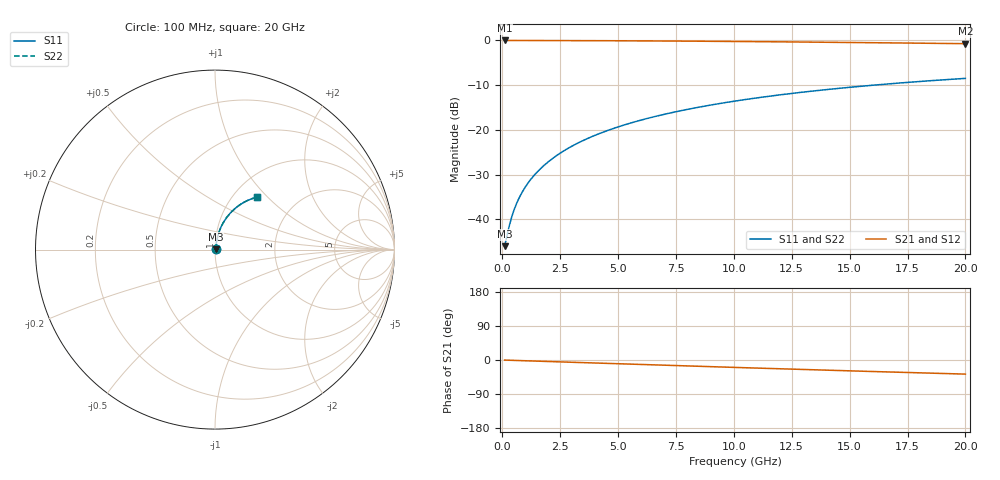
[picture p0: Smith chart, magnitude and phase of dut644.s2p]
! Touchstone file exported from HFSS 2026.1.0
!  File:  C:/ffzhzh/LocalFiles/Ansys_Project_Files/temp_train_TMRDL_644_1783009414_51716.aedt
!  Generated:  12:25:01 AM Jul  3, 2026
!  Design:  TMRDL
!  Project:  temp_train_TMRDL_644_1783009414_51716
! Variables:
!  h_bsmrdl = 2um
!  h_ox = 20um
!  h_rdl = 5um
!  h_sub = 80um
!  h_tmrdl = 2.15um
!  h_tsv = 80um
!  h_via = 3um
!  l_bsmrdl = 300um
!  l_sub = 904.48um
!  l_tmrdl = 504.48um
!  m_sub = 200um
!  pitch = 47.44um
!  r_tsv = 6um
!  s_tmrdl = 10um
!  w_bsmrdl = 18um
!  w_sub = 500um
!  w_tmrdl = 20.18um
!  x_tsv_center1 = 514.57um
!  x_tsv_center2 = 832.57um
!  x_tsv_center3 = 1357.23um
!  x_tsv_center4 = 1675.23um
!  x_tsv_center5 = 2199.89um
!  x_tsv_center6 = 2517.89um
# GHz S MA R 50.000000
! Terminal data exported
! Port[1] = TM_RDL1_1_T1
! Port[2] = TM_RDL1_1_T2
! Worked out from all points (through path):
!   200 points, 100 MHz to 20 GHz, reference 50 ohm
!   highest |S21| = -0.04 dB at 100 MHz (marker M1); lowest = -0.8 dB at 20 GHz (marker M2)
!   group delay of S21, straight-line fit = 5.18 ps
!   lowest |S11| = -46.0 dB at 100 MHz (marker M3), VSWR 1.01, Z = 50.4 + j0.238 ohm
!   |S11| at or under -10 dB: start of sweep to 16.09 GHz
!   |S22| runs from -46.0 to -8.5 dB; largest |S21 - S12| = 2.7e-15
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0.1  0.005009 28.1  0.9956 -0.2  0.9956 -0.2  0.005009 28.1
! Gamma 0 0 0 0
! Port Impedance 50 0 50 0
0.3  0.008421 56.2  0.9954 -0.6  0.9954 -0.6  0.008421 56.2
0.4  0.01046 62.3  0.9952 -0.8  0.9952 -0.8  0.01046 62.3
0.5  0.01255 66.1  0.9951 -1.0  0.9951 -1.0  0.01255 66.1
0.6  0.01465 68.8  0.9949 -1.2  0.9949 -1.2  0.01465 68.8
0.7  0.01676 70.8  0.9948 -1.4  0.9948 -1.4  0.01676 70.8
0.9  0.02096 73.5  0.9945 -1.8  0.9945 -1.8  0.02096 73.5
1.2  0.02727 75.9  0.9941 -2.4  0.9941 -2.4  0.02727 75.9
1.4  0.03149 76.9  0.9939 -2.8  0.9939 -2.8  0.03149 76.9
1.7  0.03784 77.9  0.9936 -3.4  0.9936 -3.4  0.03784 77.9
2.2  0.04845 78.7  0.993 -4.4  0.993 -4.4  0.04845 78.7
2.8  0.06121 78.8  0.9922 -5.6  0.9922 -5.6  0.06121 78.8
3.5  0.07608 78.4  0.991 -7.0  0.991 -7.0  0.07608 78.4
4.2  0.0909 77.7  0.9896 -8.3  0.9896 -8.3  0.0909 77.7
5  0.1077 76.7  0.9878 -9.9  0.9878 -9.9  0.1077 76.7
5.9  0.1264 75.3  0.9854 -11.6  0.9854 -11.6  0.1264 75.4
6.8  0.1449 73.9  0.9826 -13.4  0.9826 -13.4  0.1449 73.9
8.3  0.1752 71.4  0.9773 -16.3  0.9773 -16.3  0.1752 71.4
10.1  0.2103 68.2  0.9699 -19.7  0.9699 -19.7  0.2103 68.2
13.4  0.2708 62.4  0.9539 -25.8  0.9539 -25.8  0.2708 62.4
16.7  0.326 56.7  0.9358 -31.6  0.9358 -31.6  0.326 56.7
20  0.3755 51.2  0.9166 -37.2  0.9166 -37.2  0.3755 51.2
